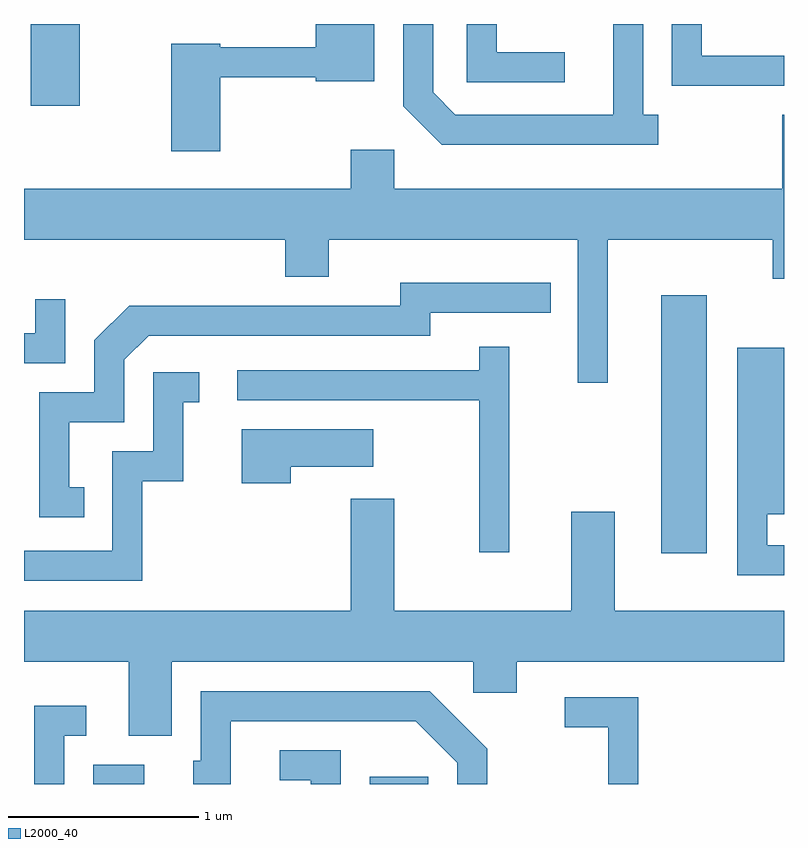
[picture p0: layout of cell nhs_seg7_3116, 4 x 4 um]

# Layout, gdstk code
import gdstk
lib = gdstk.Library(unit=1e-6, precision=1e-09)
def R(c, l, rs):  # rectangles x0, y0, x1, y1
    for r in rs: c.add(gdstk.rectangle(r[:2], r[2:], *l))
def P(c, l, *ps):  # polygons
    for p in ps: c.add(gdstk.Polygon(p, *l))
L2000_40 = (2000, 40)

nhs_seg7_3116 = lib.new_cell('nhs_seg7_3116')
R(nhs_seg7_3116, L2000_40, [(279.976,1800.252,280.244,1800.354), (281.431,1800.252,281.739,1800.289), (282.966,1801.466,283.204,1802.824), (279.646,1803.821,279.904,1804.252)])
P(nhs_seg7_3116, L2000_40, [(282.948,1803.774),(282.869,1803.774),(282.869,1804.252),(282.711,1804.252),(282.711,1803.774),(281.882,1803.774),(281.764,1803.892),(281.764,1804.252),(281.606,1804.252),(281.606,1803.819),(281.809,1803.616),(282.948,1803.616)],
  [(282.458,1804.104),(282.099,1804.104),(282.099,1804.252),(281.941,1804.252),(281.941,1803.946),(282.458,1803.946)],
  [(283.611,1804.084),(283.179,1804.084),(283.179,1804.252),(283.021,1804.252),(283.021,1803.926),(283.611,1803.926)],
  [(280.644,1803.971),(281.146,1803.971),(281.146,1803.951),(281.454,1803.951),(281.454,1804.252),(281.146,1804.252),(281.146,1804.129),(280.644,1804.129),(280.644,1804.149),(280.386,1804.149),(280.386,1803.581),(280.644,1803.581)],
  [(282.684,1803.116),(283.551,1803.116),(283.551,1802.911),(283.611,1802.911),(283.611,1803.774),(283.601,1803.774),(283.601,1803.384),(281.559,1803.384),(281.559,1803.589),(281.331,1803.589),(281.331,1803.384),(279.611,1803.384),(279.611,1803.116),(280.986,1803.116),(280.986,1802.921),(281.214,1802.921),(281.214,1803.116),(282.526,1803.116),(282.526,1802.363),(282.684,1802.363)],
  [(279.928,1801.814),(279.849,1801.814),(279.849,1802.156),(280.139,1802.156),(280.139,1802.484),(280.267,1802.611),(281.749,1802.611),(281.749,1802.731),(282.383,1802.731),(282.383,1802.889),(281.591,1802.889),(281.591,1802.769),(280.164,1802.769),(279.981,1802.587),(279.981,1802.314),(279.691,1802.314),(279.691,1801.656),(279.928,1801.656)],
  [(279.829,1802.803),(279.671,1802.803),(279.671,1802.624),(279.611,1802.624),(279.611,1802.466),(279.829,1802.466)],
  [(282.164,1802.553),(282.006,1802.553),(282.006,1802.429),(280.733,1802.429),(280.733,1802.271),(282.006,1802.271),(282.006,1801.473),(282.164,1801.473)],
  [(283.611,1801.509),(283.524,1801.509),(283.524,1801.671),(283.611,1801.671),(283.611,1802.549),(283.366,1802.549),(283.366,1801.351),(283.611,1801.351)],
  [(280.234,1801.846),(280.449,1801.846),(280.449,1802.261),(280.533,1802.261),(280.533,1802.419),(280.291,1802.419),(280.291,1802.004),(280.076,1802.004),(280.076,1801.479),(279.611,1801.479),(279.611,1801.321),(280.234,1801.321)],
  [(281.014,1801.921),(281.449,1801.921),(281.449,1802.119),(280.756,1802.119),(280.756,1801.836),(281.014,1801.836)],
  [(280.389,1800.896),(281.976,1800.896),(281.976,1800.731),(282.204,1800.731),(282.204,1800.896),(283.611,1800.896),(283.611,1801.164),(282.719,1801.164),(282.719,1801.684),(282.491,1801.684),(282.491,1801.164),(281.559,1801.164),(281.559,1801.754),(281.331,1801.754),(281.331,1801.164),(279.611,1801.164),(279.611,1800.896),(280.161,1800.896),(280.161,1800.506),(280.389,1800.506)],
  [(280.699,1800.581),(281.674,1800.581),(281.891,1800.364),(281.891,1800.252),(282.049,1800.252),(282.049,1800.437),(281.747,1800.739),(280.541,1800.739),(280.541,1800.374),(280.501,1800.374),(280.501,1800.252),(280.699,1800.252)],
  [(282.844,1800.709),(282.458,1800.709),(282.458,1800.551),(282.686,1800.551),(282.686,1800.252),(282.844,1800.252)],
  [(279.824,1800.506),(279.938,1800.506),(279.938,1800.664),(279.666,1800.664),(279.666,1800.252),(279.824,1800.252)],
  [(281.279,1800.429),(280.958,1800.429),(280.958,1800.271),(281.121,1800.271),(281.121,1800.252),(281.279,1800.252)])

lib.write_gds('nhs_seg7_3116.gds')
